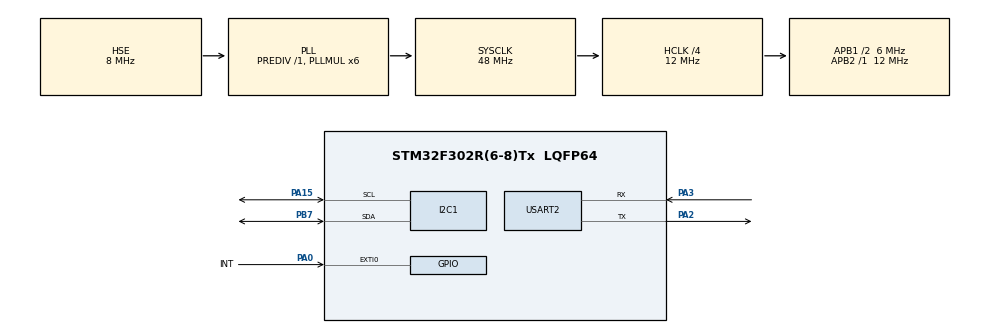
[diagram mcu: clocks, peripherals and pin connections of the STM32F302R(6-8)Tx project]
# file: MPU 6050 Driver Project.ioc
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I2C1.Timing=0x00201D2B
Mcu.Family=STM32F3
Mcu.Name=STM32F302R(6-8)Tx
Mcu.Package=LQFP64
NVIC.EXTI0_IRQn=true\:0\:0\:false\:false\:true\:true\:true\:true
NVIC.I2C1_ER_IRQn=true\:0\:0\:false\:false\:true\:true\:true\:true
NVIC.I2C1_EV_IRQn=true\:0\:0\:false\:false\:true\:true\:true\:true
NVIC.PriorityGroup=NVIC_PRIORITYGROUP_4
PA0.GPIO_Label=INT
PA0.GPIO_ModeDefaultEXTI=GPIO_MODE_IT_FALLING
PA0.GPIO_PuPd=GPIO_PULLUP
PA0.Signal=GPXTI0
PA13.Mode=Serial_Wire
PA13.Signal=SYS_JTMS-SWDIO
PA14.Mode=Serial_Wire
PA14.Signal=SYS_JTCK-SWCLK
PA15.GPIO_Mode=GPIO_MODE_AF_OD
PA15.GPIO_Pu=GPIO_PULLUP
PA15.GPIO_Speed=GPIO_SPEED_FREQ_HIGH
PA15.Mode=I2C
PA15.Signal=I2C1_SCL
PA2.Mode=Asynchronous
PA2.Signal=USART2_TX
PA3.Mode=Asynchronous
PA3.Signal=USART2_RX
PB7.GPIO_Pu=GPIO_PULLUP
PB7.GPIO_Speed=GPIO_SPEED_FREQ_HIGH
PB7.Mode=I2C
PB7.Signal=I2C1_SDA
PF0-OSC_IN.Mode=HSE-External-Oscillator
PF0-OSC_IN.Signal=RCC_OSC_IN
PF1-OSC_OUT.Mode=HSE-External-Oscillator
PF1-OSC_OUT.Signal=RCC_OSC_OUT
ProjectManager.HeapSize=0x200
ProjectManager.StackSize=0x400
ProjectManager.TargetToolchain=STM32CubeIDE
RCC.AHBCLKDivider=RCC_SYSCLK_DIV4
RCC.AHBFreq_Value=12000000
RCC.APB1CLKDivider=RCC_HCLK_DIV2
RCC.APB1Freq_Value=6000000
RCC.APB1TimFreq_Value=12000000
RCC.APB2Freq_Value=12000000
RCC.APB2TimFreq_Value=12000000
RCC.CortexFreq_Value=12000000
RCC.HCLKFreq_Value=12000000
RCC.HSE_VALUE=8000000
RCC.HSI_VALUE=8000000
RCC.LSE_VALUE=32768
RCC.PLLMUL=RCC_PLL_MUL6
RCC.PLLSourceVirtual=RCC_PLLSOURCE_HSE
RCC.SYSCLKFreq_VALUE=48000000
RCC.SYSCLKSourceVirtual=RCC_SYSCLKSOURCE_PLLCLK
RCC.USBFreq_Value=48000000
USART2.VirtualMode-Asynchronous=VM_ASYNC
board=custom

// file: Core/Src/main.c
/* USER CODE BEGIN Header */
/**
  ******************************************************************************
  * @file           : main.c
  * @brief          : Main program body
  ******************************************************************************
  * @attention
  *
  * Copyright (c) 2024 STMicroelectronics.
  * All rights reserved.
  *
  * This software is licensed under terms that can be found in the LICENSE file
  * in the root directory of this software component.
  * If no LICENSE file comes with this software, it is provided AS-IS.
  *
  ******************************************************************************
  */
/* USER CODE END Header */
#include "main.h"

/* USER CODE BEGIN Includes */
#include <stdio.h>
#include <stdlib.h>
#include <stdbool.h>
#include "MPU6050.h"
/* USER CODE END Includes */

I2C_HandleTypeDef hi2c1;

UART_HandleTypeDef huart2;

/* USER CODE BEGIN PV */
MPU6050 dev;
bool dev_data_ready;
/* USER CODE END PV */

void SystemClock_Config(void);
static void MX_GPIO_Init(void);
static void MX_I2C1_Init(void);
static void MX_USART2_UART_Init(void);

/* USER CODE BEGIN 0 */
void HAL_GPIO_EXTI_Callback(uint16_t GPIO_Pin) {
	if (GPIO_Pin == INT_Pin) {
		dev_data_ready = true;
	}
}
/* USER CODE END 0 */

int main(void)
{

  /* MCU Configuration--------------------------------------------------------*/

  /* Reset of all peripherals, Initializes the Flash interface and the Systick. */
  HAL_Init();

  /* Configure the system clock */
  SystemClock_Config();

  /* Initialize all configured peripherals */
  MX_GPIO_Init();
  MX_I2C1_Init();
  MX_USART2_UART_Init();
  /* USER CODE BEGIN 2 */
  MPU6050_Init(&dev, &hi2c1);

  char message[150];
  /* USER CODE END 2 */

  /* Infinite loop */
  /* USER CODE BEGIN WHILE */
  dev_data_ready = false;

  while (1)
  {
    /* USER CODE END WHILE */

    /* USER CODE BEGIN 3 */
//	  if (dev_data_ready) {
		  // Read temperature
		  MPU6050_ReadTemperature(&dev);
		  // Read accelerometer
		  MPU6050_ReadAccelerometer(&dev);
		  // Read gyroscope
		  MPU6050_ReadGyroscope(&dev);

		  sprintf(message, "temperature: %f, accelerometer: %f %f %f, gyroscope: %f %f %f\r\n",
				  dev.temp_C, dev.acc_g[0], dev.acc_g[1], dev.acc_g[2], dev.gyr_dps[0], dev.gyr_dps[1], dev.gyr_dps[2]);
		  HAL_UART_Transmit(&huart2, (uint8_t*) message, 102, HAL_MAX_DELAY);

		  dev_data_ready = 0;
		  HAL_Delay(500);
//	  }
  }
  /* USER CODE END 3 */
}

void SystemClock_Config(void)
{
  RCC_OscInitTypeDef RCC_OscInitStruct = {0};
  RCC_ClkInitTypeDef RCC_ClkInitStruct = {0};
  RCC_PeriphCLKInitTypeDef PeriphClkInit = {0};

  /** Initializes the RCC Oscillators according to the specified parameters
  * in the RCC_OscInitTypeDef structure.
  */
  RCC_OscInitStruct.OscillatorType = RCC_OSCILLATORTYPE_HSI|RCC_OSCILLATORTYPE_HSE;
  RCC_OscInitStruct.HSEState = RCC_HSE_ON;
  RCC_OscInitStruct.HSEPredivValue = RCC_HSE_PREDIV_DIV1;
  RCC_OscInitStruct.HSIState = RCC_HSI_ON;
  RCC_OscInitStruct.HSICalibrationValue = RCC_HSICALIBRATION_DEFAULT;
  RCC_OscInitStruct.PLL.PLLState = RCC_PLL_ON;
  RCC_OscInitStruct.PLL.PLLSource = RCC_PLLSOURCE_HSE;
  RCC_OscInitStruct.PLL.PLLMUL = RCC_PLL_MUL6;
  if (HAL_RCC_OscConfig(&RCC_OscInitStruct) != HAL_OK)
  {
    Error_Handler();
  }

  /** Initializes the CPU, AHB and APB buses clocks
  */
  RCC_ClkInitStruct.ClockType = RCC_CLOCKTYPE_HCLK|RCC_CLOCKTYPE_SYSCLK
                              |RCC_CLOCKTYPE_PCLK1|RCC_CLOCKTYPE_PCLK2;
  RCC_ClkInitStruct.SYSCLKSource = RCC_SYSCLKSOURCE_PLLCLK;
  RCC_ClkInitStruct.AHBCLKDivider = RCC_SYSCLK_DIV4;
  RCC_ClkInitStruct.APB1CLKDivider = RCC_HCLK_DIV2;
  RCC_ClkInitStruct.APB2CLKDivider = RCC_HCLK_DIV1;

  if (HAL_RCC_ClockConfig(&RCC_ClkInitStruct, FLASH_LATENCY_0) != HAL_OK)
  {
    Error_Handler();
  }
  PeriphClkInit.PeriphClockSelection = RCC_PERIPHCLK_I2C1;
  PeriphClkInit.I2c1ClockSelection = RCC_I2C1CLKSOURCE_HSI;
  if (HAL_RCCEx_PeriphCLKConfig(&PeriphClkInit) != HAL_OK)
  {
    Error_Handler();
  }
}

static void MX_I2C1_Init(void)
{

  hi2c1.Instance = I2C1;
  hi2c1.Init.Timing = 0x00201D2B;
  hi2c1.Init.OwnAddress1 = 0;
  hi2c1.Init.AddressingMode = I2C_ADDRESSINGMODE_7BIT;
  hi2c1.Init.DualAddressMode = I2C_DUALADDRESS_DISABLE;
  hi2c1.Init.OwnAddress2 = 0;
  hi2c1.Init.OwnAddress2Masks = I2C_OA2_NOMASK;
  hi2c1.Init.GeneralCallMode = I2C_GENERALCALL_DISABLE;
  hi2c1.Init.NoStretchMode = I2C_NOSTRETCH_DISABLE;
  if (HAL_I2C_Init(&hi2c1) != HAL_OK)
  {
    Error_Handler();
  }

  /** Configure Analogue filter
  */
  if (HAL_I2CEx_ConfigAnalogFilter(&hi2c1, I2C_ANALOGFILTER_ENABLE) != HAL_OK)
  {
    Error_Handler();
  }

  /** Configure Digital filter
  */
  if (HAL_I2CEx_ConfigDigitalFilter(&hi2c1, 0) != HAL_OK)
  {
    Error_Handler();
  }

}

static void MX_USART2_UART_Init(void)
{

  huart2.Instance = USART2;
  huart2.Init.BaudRate = 38400;
  huart2.Init.WordLength = UART_WORDLENGTH_8B;
  huart2.Init.StopBits = UART_STOPBITS_1;
  huart2.Init.Parity = UART_PARITY_NONE;
  huart2.Init.Mode = UART_MODE_TX_RX;
  huart2.Init.HwFlowCtl = UART_HWCONTROL_NONE;
  huart2.Init.OverSampling = UART_OVERSAMPLING_16;
  huart2.Init.OneBitSampling = UART_ONE_BIT_SAMPLE_DISABLE;
  huart2.AdvancedInit.AdvFeatureInit = UART_ADVFEATURE_NO_INIT;
  if (HAL_UART_Init(&huart2) != HAL_OK)
  {
    Error_Handler();
  }

}

static void MX_GPIO_Init(void)
{
  GPIO_InitTypeDef GPIO_InitStruct = {0};

  /* GPIO Ports Clock Enable */
  __HAL_RCC_GPIOF_CLK_ENABLE();
  __HAL_RCC_GPIOA_CLK_ENABLE();
  __HAL_RCC_GPIOB_CLK_ENABLE();

  /*Configure GPIO pin : INT_Pin */
  GPIO_InitStruct.Pin = INT_Pin;
  GPIO_InitStruct.Mode = GPIO_MODE_IT_FALLING;
  GPIO_InitStruct.Pull = GPIO_PULLUP;
  HAL_GPIO_Init(INT_GPIO_Port, &GPIO_InitStruct);

  /* EXTI interrupt init*/
  HAL_NVIC_SetPriority(EXTI0_IRQn, 0, 0);
  HAL_NVIC_EnableIRQ(EXTI0_IRQn);

}

void Error_Handler(void)
{
  __disable_irq();
  while (1)
  {
  }
}
